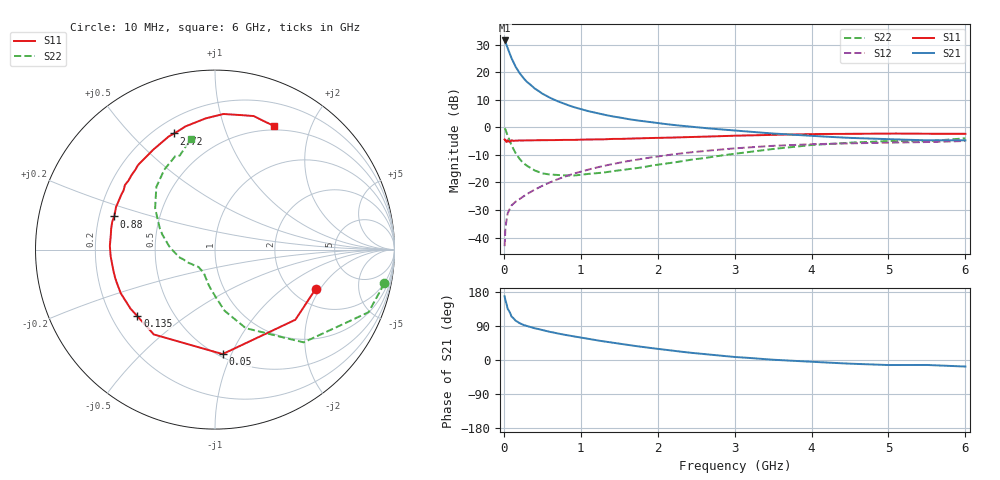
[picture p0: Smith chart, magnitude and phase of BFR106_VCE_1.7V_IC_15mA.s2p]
! Infineon Technologies  Discrete & RF Semiconductors
! BFR106
! VCE =  1.7 V,  IC =  15 mA
! Common Emitter S-Parameters:  Nov 2015
# GHz  S  MA  R  50
!  f  S11  S21  S12  S22
! GHz  MAG  ANG  MAG  ANG  MAG  ANG  MAG  ANG
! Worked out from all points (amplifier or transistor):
!   210 points, 10 MHz to 6 GHz, reference 50 ohm
!   highest |S21| = 31.5 dB at 10 MHz (marker M1)
!   |S21| within 3 dB of that: start of sweep to 53.81 MHz
!   unconditionally stable (mu >= 1): 394.7 MHz to 2.529 GHz; 4.6 GHz to end of sweep
!   at 185 MHz: K = 0.70, MSG = 23.5 dB, |S12| = -26.4 dB
!   at 1.52 GHz: K = 1.08, MAG = 6.4 dB, |S12| = -12.7 dB
!   at 6 GHz: K = 1.02, MAG = -0.8 dB, |S12| = -5.0 dB
!   S11 on the Smith chart (normalised r, x): 10 MHz: 2.65, -1.82; 50 MHz: 0.53, -0.93; 135 MHz: 0.31, -0.34; 880 MHz: 0.26, +0.15; 2.72 GHz: 0.27, +0.67; 6 GHz: 0.45, +1.49
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0.01  0.6023 -21.3  37.64 168.2  0.007 82.6  0.9624 -11.3
0.02  0.5944 -41.1  35.84 158.2  0.0143 74.7  0.9237 -22.2
0.05  0.5837 -85.8  27.46 134.7  0.0276 57.1  0.7149 -46.3
0.1  0.5829 -125.8  17.88 114.6  0.0384 48.1  0.4704 -68.6
0.135  0.57 -139.3  14.2 107.9  0.0426 47.4  0.3804 -76.5
0.15  0.5743 -145.1  12.7 103.9  0.0444 47.1  0.3449 -81.1
0.2  0.5787 -155.2  9.844 97.7  0.0497 49.0  0.2734 -88.0
0.24  0.5776 -161.6  8.313 94.0  0.0543 50.6  0.2356 -93.4
0.3  0.5781 -168.0  6.672 89.5  0.0616 53.8  0.2014 -99.9
0.4  0.5825 -176.3  5.076 83.8  0.0737 57.2  0.1657 -108.3
0.5  0.5862 178.0  4.086 78.9  0.0869 59.1  0.1465 -114.6
0.6  0.5857 172.9  3.437 74.2  0.1007 60.3  0.1392 -119.8
0.7  0.5903 168.4  2.973 70.0  0.1146 61.1  0.1371 -124.8
0.88  0.5916 161.8  2.401 63.3  0.1405 60.9  0.1333 -132.6
1.02  0.6001 156.2  2.103 58.3  0.1599 60.5  0.1388 -137.3
1.4  0.6173 144.4  1.591 46.1  0.214 57.1  0.1591 -150.7
2.02  0.6432 126.9  1.186 28.9  0.2992 48.9  0.2121 -171.5
2.72  0.6862 109.4  0.943 13.4  0.3849 38.1  0.2935 166.3
3.1  0.7096 101.6  0.853 6.7  0.4244 31.9  0.3441 155.5
4.1  0.7573 85.0  0.688 -5.7  0.4973 16.2  0.4867 130.8
5.1  0.7721 72.8  0.604 -13.3  0.5306 3.5  0.5644 112.5
6  0.7634 64.5  0.581 -17.3  0.5655 -6.0  0.6326 102.2
